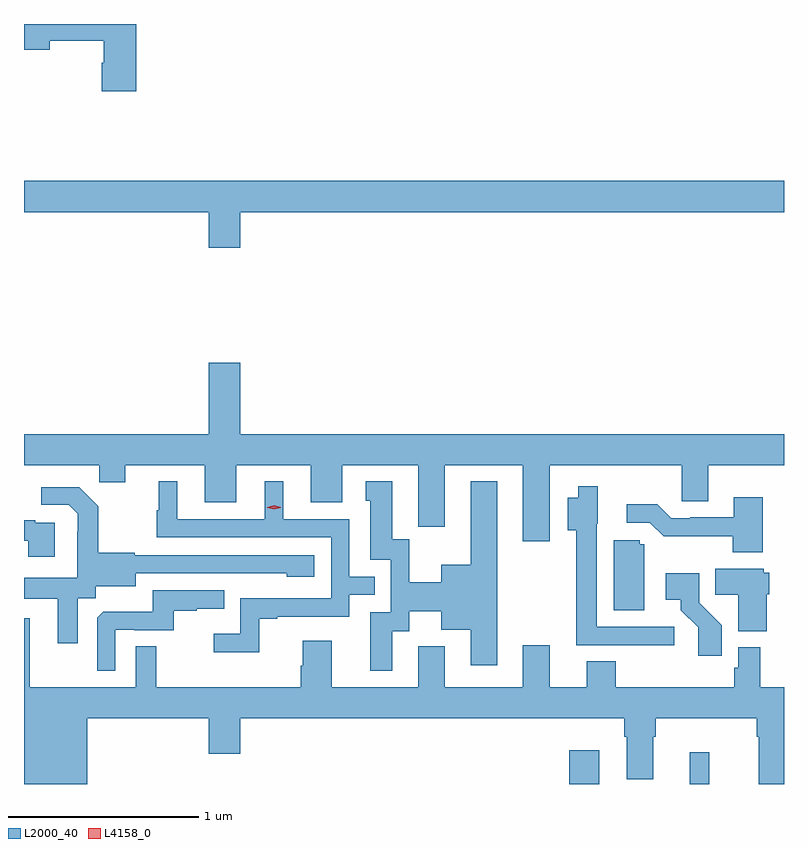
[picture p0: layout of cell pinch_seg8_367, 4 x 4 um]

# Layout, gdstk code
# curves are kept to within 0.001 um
import gdstk
lib = gdstk.Library(unit=1e-6, precision=1e-09)
def R(c, l, rs):  # rectangles x0, y0, x1, y1
    for r in rs: c.add(gdstk.rectangle(r[:2], r[2:], *l))
def P(c, l, *ps):  # polygons
    for p in ps: c.add(gdstk.Polygon(p, *l))
L2000_40 = (2000, 40)
L4158_0 = (4158, 0)

pinch_seg8_367 = lib.new_cell('pinch_seg8_367')
R(pinch_seg8_367, L2000_40, [(406.664,1120.15,406.822,1120.327), (407.3,1120.15,407.402,1120.318)])
P(pinch_seg8_367, L2000_40, [(404.387,1124.15),(403.795,1124.15),(403.795,1124.015),(403.93,1124.015),(403.93,1124.062),(404.216,1124.062),(404.216,1123.947),(404.204,1123.947),(404.204,1123.797),(404.387,1123.797)],
  [(404.932,1123.16),(407.795,1123.16),(407.795,1123.324),(403.795,1123.324),(403.795,1123.16),(404.768,1123.16),(404.768,1122.972),(404.932,1122.972)],
  [(406.561,1121.828),(407.256,1121.828),(407.256,1121.638),(407.395,1121.638),(407.395,1121.828),(407.795,1121.828),(407.795,1121.992),(404.932,1121.992),(404.932,1122.367),(404.768,1122.367),(404.768,1121.992),(403.795,1121.992),(403.795,1121.828),(404.191,1121.828),(404.191,1121.738),(404.329,1121.738),(404.329,1121.828),(404.747,1121.828),(404.747,1121.634),(404.911,1121.634),(404.911,1121.828),(405.305,1121.828),(405.305,1121.634),(405.469,1121.634),(405.469,1121.828),(405.869,1121.828),(405.869,1121.617),(405.87,1121.617),(405.87,1121.505),(406.009,1121.505),(406.009,1121.828),(406.421,1121.828),(406.421,1121.427),(406.561,1121.427)],
  [(405.733,1120.954),(405.823,1120.954),(405.823,1121.06),(405.992,1121.06),(405.992,1120.961),(406.145,1120.961),(406.145,1120.776),(406.285,1120.776),(406.285,1121.743),(406.145,1121.743),(406.145,1121.305),(405.992,1121.305),(405.992,1121.212),(405.822,1121.212),(405.822,1121.439),(405.733,1121.439),(405.733,1121.743),(405.593,1121.743),(405.593,1121.64),(405.617,1121.64),(405.617,1121.331),(405.726,1121.331),(405.726,1121.055),(405.617,1121.055),(405.617,1120.746),(405.733,1120.746)],
  [(405.033,1121.019),(405.127,1121.019),(405.127,1121.031),(405.507,1121.031),(405.507,1121.145),(405.641,1121.145),(405.641,1121.241),(405.507,1121.241),(405.507,1121.544),(405.16,1121.544),(405.16,1121.743),(405.062,1121.743),(405.062,1121.544),(404.602,1121.544),(404.602,1121.743),(404.504,1121.743),(404.504,1121.592),(404.493,1121.592),(404.493,1121.448),(405.411,1121.448),(405.411,1121.127),(404.934,1121.127),(404.934,1120.942),(404.793,1120.942),(404.793,1120.844),(405.033,1120.844)],
  [(407.218,1120.977),(406.809,1120.977),(406.809,1121.52),(406.816,1121.52),(406.816,1121.716),(406.712,1121.716),(406.712,1121.656),(406.658,1121.656),(406.658,1121.486),(406.701,1121.486),(406.701,1120.881),(406.993,1120.881),(406.993,1120.879),(407.218,1120.879)],
  [(404.077,1121.128),(404.172,1121.128),(404.172,1121.192),(404.383,1121.192),(404.383,1121.259),(405.177,1121.258),(405.177,1121.24),(405.322,1121.24),(405.322,1121.355),(404.379,1121.355),(404.379,1121.368),(404.187,1121.368),(404.187,1121.613),(404.087,1121.713),(403.887,1121.713),(403.887,1121.619),(404.031,1121.619),(404.078,1121.572),(404.078,1121.477),(404.076,1121.477),(404.076,1121.236),(403.795,1121.236),(403.795,1121.126),(403.973,1121.126),(403.973,1120.89),(404.077,1120.89)],
  [(407.684,1121.659),(407.531,1121.659),(407.531,1121.553),(407.302,1121.553),(407.302,1121.55),(407.202,1121.55),(407.129,1121.623),(406.968,1121.623),(406.968,1121.526),(407.088,1121.526),(407.161,1121.453),(407.524,1121.454),(407.524,1121.369),(407.684,1121.369)],
  [(403.957,1121.526),(403.853,1121.526),(403.853,1121.539),(403.795,1121.539),(403.795,1121.43),(403.817,1121.43),(403.817,1121.346),(403.957,1121.346)],
  [(407.059,1121.412),(407.037,1121.412),(407.037,1121.433),(406.898,1121.433),(406.898,1121.064),(407.059,1121.064)],
  [(407.705,1121.148),(407.717,1121.148),(407.717,1121.262),(407.688,1121.262),(407.688,1121.284),(407.434,1121.284),(407.434,1121.146),(407.555,1121.146),(407.555,1120.955),(407.705,1120.955)],
  [(407.468,1120.986),(407.349,1121.105),(407.349,1121.26),(407.172,1121.26),(407.172,1121.12),(407.252,1121.12),(407.252,1121.065),(407.343,1120.975),(407.343,1120.824),(407.468,1120.824)],
  [(404.274,1120.962),(404.374,1120.962),(404.374,1120.959),(404.582,1120.959),(404.582,1121.061),(404.705,1121.061),(404.705,1121.072),(404.849,1121.072),(404.849,1121.169),(404.472,1121.169),(404.472,1121.057),(404.213,1121.057),(404.181,1121.025),(404.181,1120.745),(404.274,1120.745)],
  [(404.128,1120.496),(404.768,1120.496),(404.768,1120.308),(404.932,1120.308),(404.932,1120.496),(406.955,1120.496),(406.955,1120.4),(406.967,1120.4),(406.967,1120.176),(407.107,1120.176),(407.107,1120.4),(407.12,1120.4),(407.12,1120.496),(407.651,1120.496),(407.651,1120.4),(407.663,1120.4),(407.663,1120.15),(407.795,1120.15),(407.795,1120.66),(407.669,1120.66),(407.669,1120.87),(407.553,1120.87),(407.553,1120.761),(407.533,1120.761),(407.533,1120.66),(406.91,1120.66),(406.91,1120.796),(406.757,1120.796),(406.757,1120.66),(406.561,1120.66),(406.561,1120.879),(406.421,1120.879),(406.421,1120.66),(406.009,1120.66),(406.009,1120.876),(405.869,1120.876),(405.869,1120.66),(405.415,1120.66),(405.415,1120.903),(405.263,1120.903),(405.263,1120.773),(405.251,1120.773),(405.251,1120.66),(404.491,1120.66),(404.491,1120.874),(404.382,1120.874),(404.382,1120.66),(403.825,1120.66),(403.825,1121.023),(403.795,1121.023),(403.795,1120.15),(404.128,1120.15)])
P(pinch_seg8_367, L4158_0, [(405.111,1121.596),(405.075,1121.605),(405.075,1121.606),(405.075,1121.606),(405.111,1121.616),(405.147,1121.606),(405.147,1121.606),(405.147,1121.605)])

lib.write_gds('pinch_seg8_367.gds')
